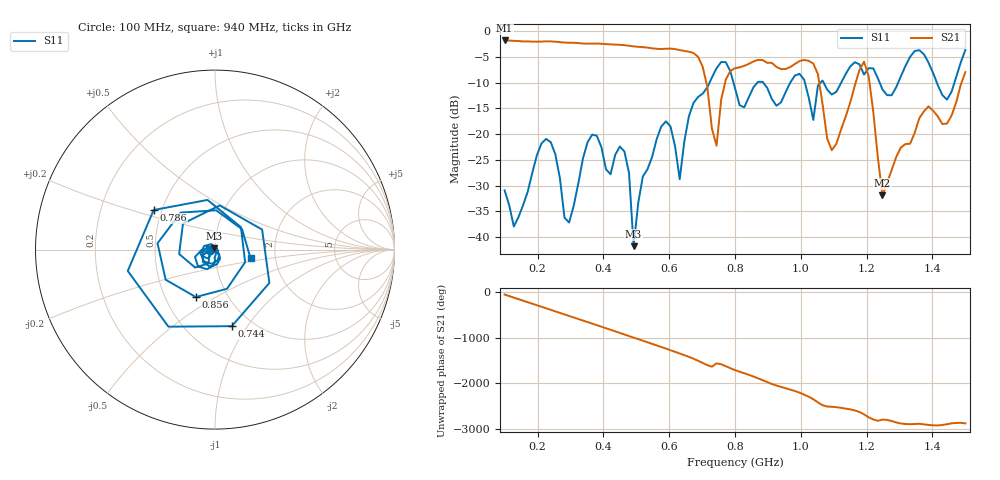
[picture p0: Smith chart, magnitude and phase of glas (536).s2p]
! NanoVNA-App
! Date: 2025-09-25 15:59:39
! Start: 100MHz Stop: 1,5GHz Points: 101
! S-Parameter data: F S11 S21 S12 S22
# Hz S RI R 50
!  Frequency  S11_Real  S11_Imag  S21_Real  S21_Imag  S12_Real  S12_Imag  S22_Real  S22_Imag
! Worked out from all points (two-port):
!   101 points, 100 MHz to 1.5 GHz, reference 50 ohm
!   highest |S21| = -1.80 dB at 100 MHz (marker M1); lowest = -31.9 dB at 1.248 GHz (marker M2)
!   |S21| within 3 dB of the highest: start of sweep to 684.3 MHz
!   lowest |S11| = -41.8 dB at 492 MHz (marker M3), VSWR 1.02, Z = 49.5 + j0.616 ohm
!   |S11| at or under -10 dB: start of sweep to 722.6 MHz; 795.4 MHz to 867.9 MHz (72.52 MHz wide, 8.72 % of centre); 885.9 MHz to 967.8 MHz (81.86 MHz wide, 8.83 % of centre) (the widest 3 of 7)
!   S12 and S22 are empty: the file has one direction only
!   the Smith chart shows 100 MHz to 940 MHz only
!   S11 on the Smith chart (normalised r, x): 100 MHz: 0.95, -0.01; 744 MHz: 0.81, -0.85; 786 MHz: 0.45, +0.24; 856 MHz: 0.71, -0.41; 940 MHz: 1.48, -0.15
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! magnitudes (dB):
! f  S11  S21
! 100 MHz  -30.9  -1.8
! 128 MHz  -37.9  -1.9
! 226 MHz  -20.9  -2.0
! 296 MHz  -37.2  -2.2
! 338 MHz  -24.7  -2.4
! 464 MHz  -23.4  -2.7
! 492 MHz  -41.8  -3.0
! 576 MHz  -18.5  -3.5
! 632 MHz  -28.8  -3.7
! 702 MHz  -12.1  -7.0
! 744 MHz  -7.2  -22.2
! 786 MHz  -7.8  -7.7
! 800 MHz  -11.1  -7.2
! 856 MHz  -10.9  -5.9
! 940 MHz  -13.8  -7.4
! 996 MHz  -8.3  -5.8
! 1.038 GHz  -17.2  -6.3
! 1.094 GHz  -12.3  -23.1
! 1.192 GHz  -8.4  -5.9
! 1.248 GHz  -11.3  -31.9
! 1.276 GHz  -12.5  -27.0
! 1.5 GHz  -3.6  -7.9
